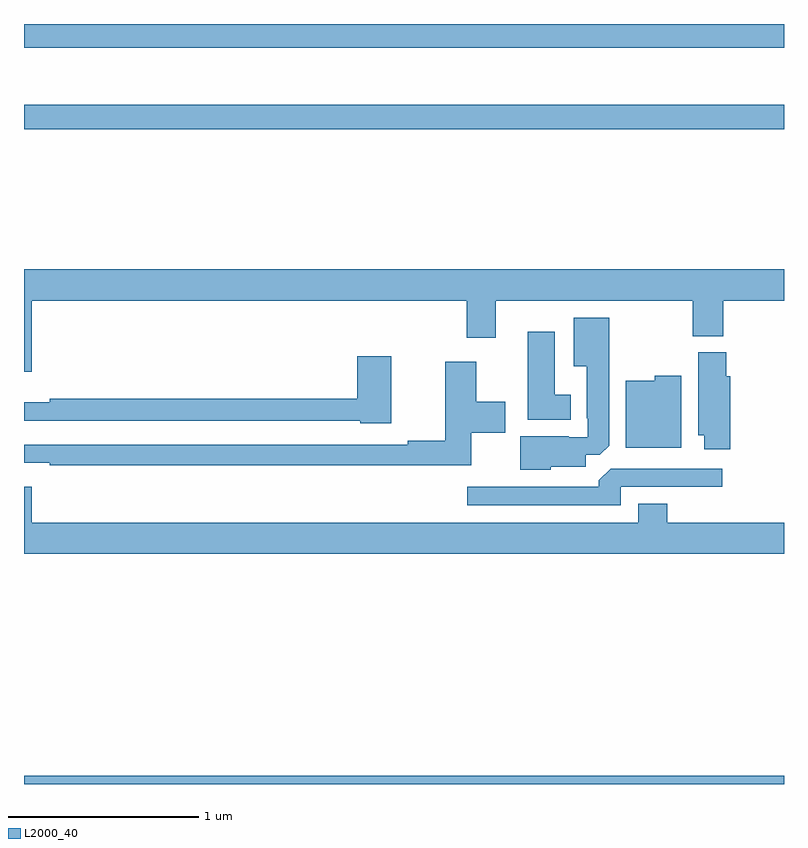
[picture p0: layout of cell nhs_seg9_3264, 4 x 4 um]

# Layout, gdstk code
import gdstk
lib = gdstk.Library(unit=1e-6, precision=1e-09)
def R(c, l, rs):  # rectangles x0, y0, x1, y1
    for r in rs: c.add(gdstk.rectangle(r[:2], r[2:], *l))
def P(c, l, *ps):  # polygons
    for p in ps: c.add(gdstk.Polygon(p, *l))
L2000_40 = (2000, 40)

nhs_seg9_3264 = lib.new_cell('nhs_seg9_3264')
R(nhs_seg9_3264, L2000_40, [(297,1236.5,301,1236.544), (297,1239.946,301,1240.075), (297,1240.376,301,1240.5)])
P(nhs_seg9_3264, L2000_40, [(297.04,1239.044),(299.33,1239.044),(299.33,1238.85),(299.482,1238.85),(299.482,1239.044),(300.52,1239.044),(300.52,1238.857),(300.68,1238.857),(300.68,1239.044),(301,1239.044),(301,1239.208),(297,1239.208),(297,1238.67),(297.04,1238.67)],
  [(299.772,1238.171),(299.956,1238.171),(299.956,1238.232),(300.03,1238.232),(300.079,1238.281),(300.079,1238.953),(299.894,1238.953),(299.894,1238.699),(299.963,1238.699),(299.963,1238.425),(299.967,1238.425),(299.967,1238.325),(299.867,1238.325),(299.867,1238.329),(299.612,1238.329),(299.612,1238.153),(299.772,1238.153)],
  [(299.878,1238.548),(299.794,1238.548),(299.794,1238.881),(299.651,1238.881),(299.651,1238.417),(299.878,1238.417)],
  [(300.716,1238.646),(300.695,1238.646),(300.695,1238.772),(300.548,1238.772),(300.548,1238.336),(300.581,1238.336),(300.581,1238.262),(300.716,1238.262)],
  [(298.932,1238.752),(298.754,1238.752),(298.754,1238.528),(297.136,1238.528),(297.136,1238.509),(297,1238.509),(297,1238.412),(298.77,1238.412),(298.77,1238.399),(298.932,1238.399)],
  [(299.353,1238.348),(299.533,1238.348),(299.533,1238.511),(299.38,1238.511),(299.38,1238.722),(299.218,1238.722),(299.218,1238.306),(299.02,1238.306),(299.02,1238.286),(297,1238.286),(297,1238.19),(297.136,1238.19),(297.136,1238.178),(299.353,1238.178)],
  [(300.46,1238.65),(300.321,1238.65),(300.321,1238.623),(300.167,1238.623),(300.167,1238.27),(300.46,1238.27)],
  [(300.141,1238.064),(300.676,1238.064),(300.676,1238.16),(300.087,1238.16),(300.026,1238.098),(300.026,1238.064),(299.334,1238.064),(299.334,1237.968),(300.141,1237.968)],
  [(301,1237.876),(300.386,1237.876),(300.386,1237.975),(300.233,1237.975),(300.233,1237.876),(297.04,1237.876),(297.04,1238.065),(297,1238.065),(297,1237.712),(301,1237.712)])

lib.write_gds('nhs_seg9_3264.gds')
